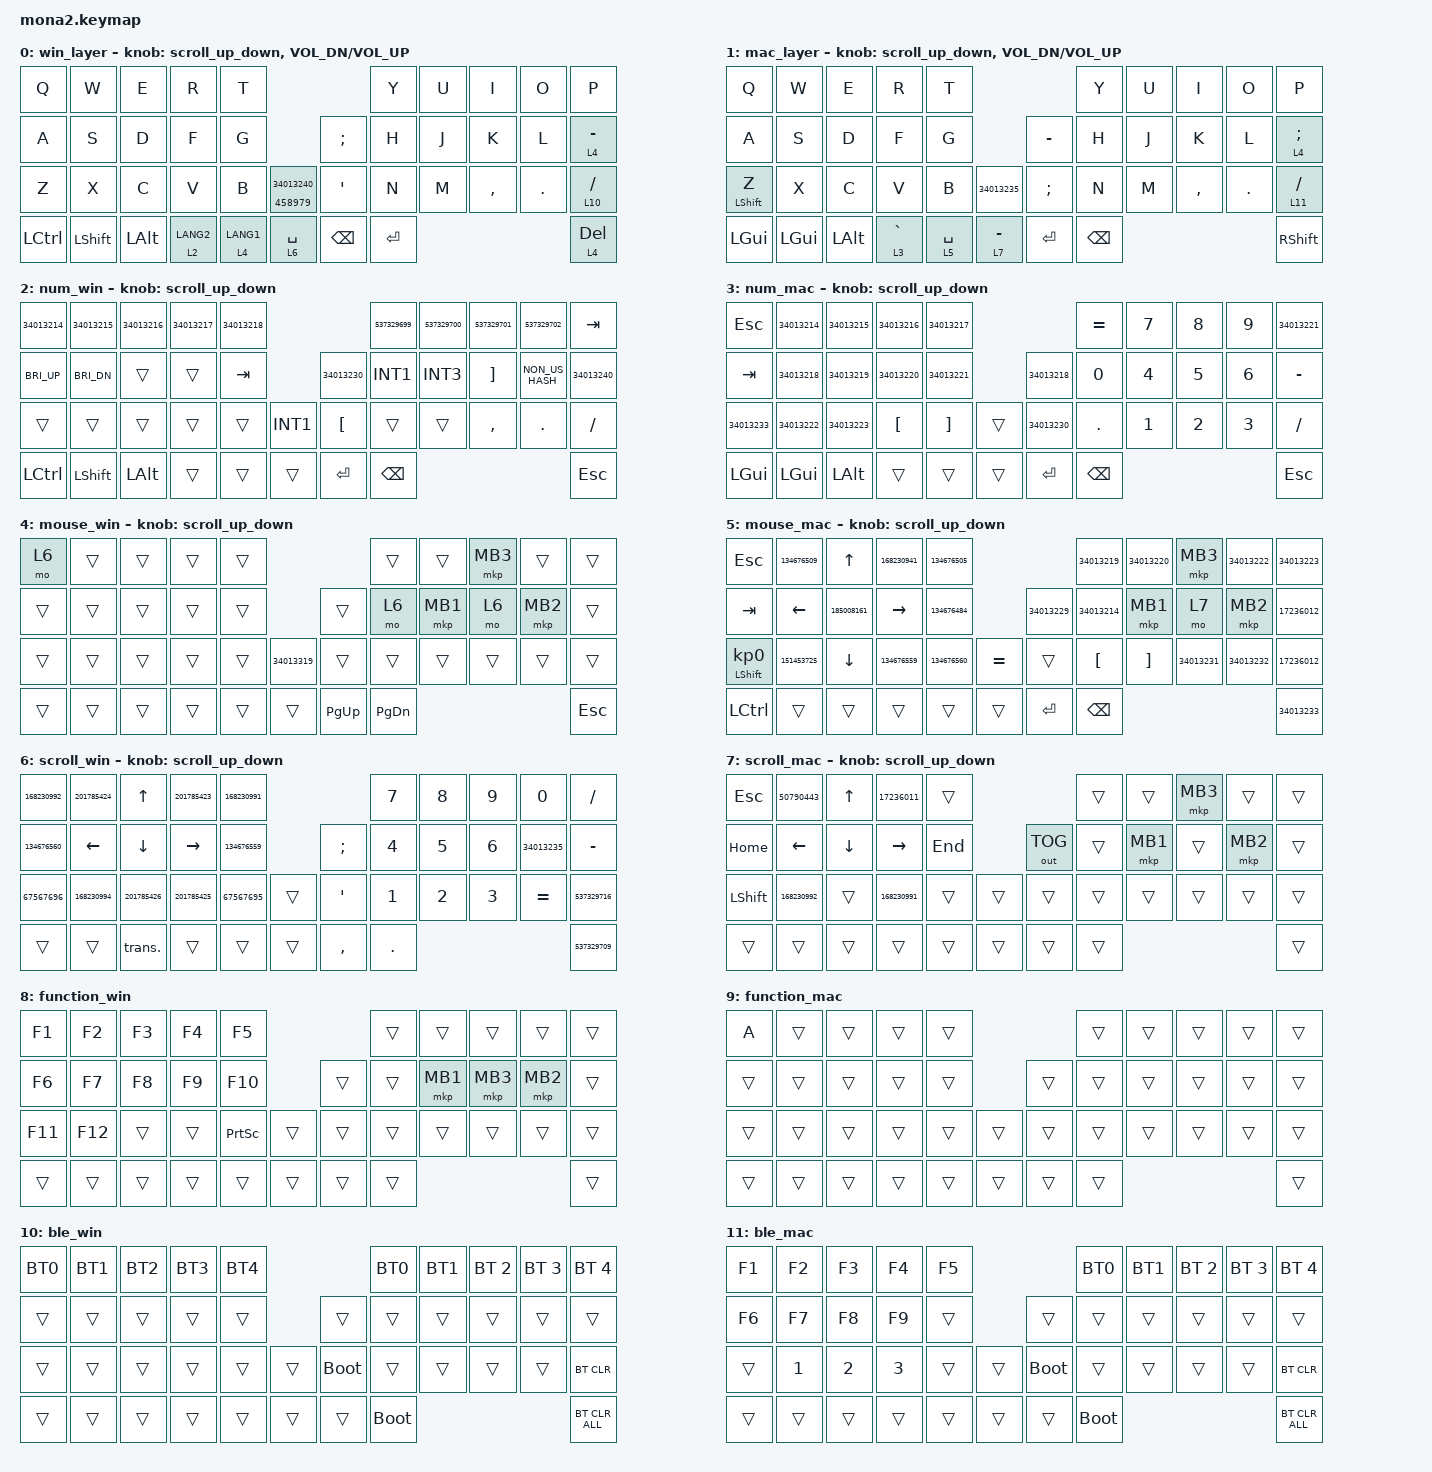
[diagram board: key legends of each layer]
#include <input/processors.dtsi>
#include <dt-bindings/zmk/input_transform.h>
#include <zephyr/dt-bindings/input/input-event-codes.h>
#include <behaviors.dtsi>
#include <dt-bindings/zmk/bt.h>
#include <dt-bindings/zmk/keys.h>
#include <dt-bindings/zmk/outputs.h>
#include <dt-bindings/zmk/pointing.h>

#define ZMK_POINTING_DEFAULT_SCRL_VAL 100

&mt {
    flavor = "balanced";
    quick-tap-ms = <0>;
};

&lt {
    quick-tap-ms = <200>;
    flavor = "balanced";
};

&msc {
    delay-ms = <0>;
    time-to-max-speed-ms = <0>;
    acceleration-exponent = <0>;
};

/ {
    combos {
        compatible = "zmk,combos";

        layer4_ESC {
            bindings = <&lt 4 ESC>;
            key-positions = <39 38>;
        };

        tab {
            bindings = <&kp TAB>;
            key-positions = <11 12>;
        };
    };

    macros {
        to_layer_0: to_layer_0 {
            compatible = "zmk,behavior-macro-one-param";
            #binding-cells = <1>;
            bindings = <&to 0 &macro_param_1to1 &kp MACRO_PLACEHOLDER>;
            label = "TO_LAYER_0";
        };

        BT0: BT0 {
            compatible = "zmk,behavior-macro";
            #binding-cells = <0>;
            bindings =
                <&tog_off 0 &tog_off 1>,
                <&macro_wait_time 200>,
                <&bt BT_SEL 0>,
                <&macro_wait_time 500>,
                <&tog_on 0>;

            label = "BT0";
        };

        BT1: BT1 {
            compatible = "zmk,behavior-macro";
            #binding-cells = <0>;
            bindings =
                <&tog_off 0 &tog_off 1>,
                <&macro_wait_time 200>,
                <&bt BT_SEL 1>,
                <&macro_wait_time 500>,
                <&tog_on 1>;

            label = "BT1";
        };

        screenshot: screenshot {
            compatible = "zmk,behavior-macro";
            #binding-cells = <0>;
            bindings =
                <&macro_press>,
                <&kp LEFT_GUI &kp RSHIFT>,
                <&macro_wait_time 20>,
                <&macro_tap>,
                <&kp S>,
                <&macro_release>,
                <&kp LEFT_GUI &kp RSHIFT>;

            label = "SCREENSHOT";
        };

        henkan: henkan {
            compatible = "zmk,behavior-macro";
            #binding-cells = <0>;
            bindings =
                <&macro_press>,
                <&kp LEFT_ALT>,
                <&macro_wait_time 20>,
                <&macro_tap>,
                <&kp GRAVE>,
                <&macro_release>,
                <&kp LEFT_ALT>;

            label = "HENKAN";
        };
    };

    behaviors {
        lt_to_layer_0: lt_to_layer_0 {
            compatible = "zmk,behavior-hold-tap";
            label = "LAYER_TAP_TO_0";
            bindings = <&mo>, <&to_layer_0>;

            #binding-cells = <2>;
            tapping-term-ms = <200>;
        };

        tp_repeat_mo1: tp_repeat_mo1 {
            compatible = "zmk,behavior-hold-tap";
            label = "TP_REPEAT_MO1";
            bindings = <&mo>, <&key_repeat>;

            #binding-cells = <2>;
            tapping-term-ms = <200>;
        };

        // 新しいスクロール動作の追加

        scroll_up_down: behavior_sensor_rotate_mouse_wheel_up_down {
            compatible = "zmk,behavior-sensor-rotate";
            #sensor-binding-cells = <0>;
            bindings = <&msc SCRL_UP>, <&msc SCRL_DOWN>;

            // 追加: スクロールのタップ時間を設定 (20ms)

            tap-ms = <30>;
        };

        tog_on: toggle_layer_on_only {
            compatible = "zmk,behavior-toggle-layer";
            #binding-cells = <1>;
            display-name = "Toggle Layer On";
            toggle-mode = "on";
        };

        tog_off: toggle_layer_off_only {
            compatible = "zmk,behavior-toggle-layer";
            #binding-cells = <1>;
            display-name = "Toggle Layer Off";
            toggle-mode = "off";
        };

        zfold: zfold {
            compatible = "zmk,behavior-hold-tap";
            label = "ZFOLD";
            bindings = <&kp>, <&kp>;

            #binding-cells = <2>;
            tapping-term-ms = <300>;
            flavor = "hold-preferred";
            quick-tap-ms = <150>;
            hold-while-undecided;
        };

        zfoldZ: zfoldZ {
            compatible = "zmk,behavior-tap-dance";
            label = "ZFOLDZ";
            #binding-cells = <0>;
            bindings = <&zfold LEFT_SHIFT Z>, <&kp LS(Z)>;
        };
    };

    keymap {
        compatible = "zmk,keymap";

        win_layer {
            bindings = <
&kp Q             &kp W           &kp E         &kp R        &kp T                                            &kp Y       &kp U  &kp I      &kp O    &kp P
&kp A             &kp S           &kp D         &kp F        &kp G                             &kp SEMICOLON  &kp H       &kp J  &kp K      &kp L    &lt 4 MINUS
&kp Z             &kp X           &kp C         &kp V        &kp B        &mt 458979 34013240  &kp SQT        &kp N       &kp M  &kp COMMA  &kp DOT  &lt 10 SLASH
&kp LEFT_CONTROL  &kp LEFT_SHIFT  &kp LEFT_ALT  &lt 2 LANG2  &lt 4 LANG1  &lt 6 SPACE          &kp BACKSPACE  &kp RETURN                             &lt 4 DELETE
            >;

            sensor-bindings =
                <&scroll_up_down>,
                <&inc_dec_kp C_VOL_DN C_VOL_UP>;
        };

        mac_layer {
            bindings = <
&kp Q             &kp W         &kp E         &kp R        &kp T                                      &kp Y          &kp U  &kp I      &kp O       &kp P
&kp A             &kp S         &kp D         &kp F        &kp G                       &kp MINUS      &kp H          &kp J  &kp K      &kp L       &lt 4 SEMICOLON
&mt LEFT_SHIFT Z  &kp X         &kp C         &kp V        &kp B        &kp 34013235   &kp SEMICOLON  &kp N          &kp M  &kp COMMA  &kp PERIOD  &lt 11 SLASH
&kp LEFT_GUI      &kp LEFT_GUI  &kp LEFT_ALT  &lt 3 GRAVE  &lt 5 SPACE  &lt 7 MINUS    &kp RETURN     &kp BACKSPACE                                &kp RIGHT_SHIFT
            >;

            sensor-bindings =
                <&scroll_up_down>,
                <&inc_dec_kp C_VOL_DN C_VOL_UP>;
        };

        num_win {
            bindings = <
&kp 34013214      &kp 34013215    &kp 34013216  &kp 34013217  &kp 34013218                              &kp 537329699  &kp 537329700  &kp 537329701      &kp 537329702    &kp TAB
&kp C_BRI_UP      &kp C_BRI_DN    &trans        &trans        &kp TAB                 &kp 34013230      &kp INT1       &kp INT3       &kp RIGHT_BRACKET  &kp NON_US_HASH  &kp 34013240
&trans            &trans          &trans        &trans        &trans        &kp INT1  &kp LEFT_BRACKET  &trans         &trans         &kp COMMA          &kp PERIOD       &kp SLASH
&kp LEFT_CONTROL  &kp LEFT_SHIFT  &kp LEFT_ALT  &trans        &trans        &trans    &kp RETURN        &kp BACKSPACE                                                     &kp ESCAPE
            >;

            sensor-bindings = <&scroll_up_down>;
        };

        num_mac {
            bindings = <
&kp ESCAPE    &kp 34013214  &kp 34013215  &kp 34013216      &kp 34013217                             &kp EQUAL   &kp N7    &kp N8    &kp N9    &kp 34013221
&kp TAB       &kp 34013218  &kp 34013219  &kp 34013220      &kp 34013221               &kp 34013218  &kp N0      &kp N4    &kp N5    &kp N6    &kp MINUS    
&kp 34013233  &kp 34013222  &kp 34013223  &kp LEFT_BRACKET  &kp RIGHT_BRACKET  &trans  &kp 34013230  &kp PERIOD  &kp N1    &kp N2    &kp N3    &kp SLASH    
&kp LEFT_GUI  &kp LEFT_GUI  &kp LEFT_ALT  &trans            &trans             &trans  &kp RETURN    &kp BACKSPACE                             &kp ESCAPE
            >;

            sensor-bindings = <&scroll_up_down>;
        };

        mouse_win {
            bindings = <
&mo 6   &trans  &trans  &trans  &trans                               &trans         &trans    &mkp MB3  &trans    &trans
&trans  &trans  &trans  &trans  &trans                  &trans       &mo 6          &mkp MB1  &mo 6     &mkp MB2  &trans
&trans  &trans  &trans  &trans  &trans    &kp 34013319  &trans       &trans         &trans    &trans    &trans    &trans
&trans  &trans  &trans  &trans  &trans    &trans        &kp PAGE_UP  &kp PAGE_DOWN                                &kp ESCAPE
            >;

            sensor-bindings = <&scroll_up_down>;
        };

        mouse_mac {
            bindings = <
&kp ESCAPE            &kp 134676509  &kp UP         &kp 168230941  &kp 134676505                           &kp 34013219      &kp 34013220       &mkp MB3      &kp 34013222  &kp 34013223
&kp TAB               &kp LEFT       &kp 185008161  &kp RIGHT      &kp 134676484             &kp 34013229  &kp 34013214      &mkp MB1           &mo 7         &mkp MB2      &kp 17236012
&mt LEFT_SHIFT KP_N0  &kp 151453725  &kp DOWN       &kp 134676559  &kp 134676560  &kp EQUAL  &trans        &kp LEFT_BRACKET  &kp RIGHT_BRACKET  &kp 34013231  &kp 34013232  &kp 17236012
&kp LEFT_CONTROL      &trans         &trans         &trans         &trans         &trans     &kp RETURN    &kp BACKSPACE                                                    &kp 34013233
            >;

            sensor-bindings = <&scroll_up_down>;
        };

        scroll_win {
            bindings = <
&kp 168230992  &kp 201785424  &kp UP         &kp 201785423  &kp 168230991                         &kp N7  &kp N8  &kp N9  &kp N0        &kp SLASH
&kp 134676560  &kp LEFT       &kp DOWN       &kp RIGHT      &kp 134676559          &kp SEMICOLON  &kp N4  &kp N5  &kp N6  &kp 34013235  &kp MINUS
&kp 67567696   &kp 168230994  &kp 201785426  &kp 201785425  &kp 67567695   &trans  &kp SQT        &kp N1  &kp N2  &kp N3  &kp EQUAL     &kp 537329716
&trans         &trans         &trans.        &trans         &trans         &trans  &kp COMMA      &kp PERIOD                            &kp 537329709
            >;

            sensor-bindings = <&scroll_up_down>;
        };

        scroll_mac {
            bindings = <
&kp ESCAPE      &kp 50790443   &kp UP    &kp 17236011   &trans                               &trans  &trans    &mkp MB3  &trans    &trans
&kp HOME        &kp LEFT       &kp DOWN  &kp RIGHT      &kp END                &out OUT_TOG  &trans  &mkp MB1  &trans    &mkp MB2  &trans
&kp LEFT_SHIFT  &kp 168230992  &trans    &kp 168230991  &trans   &trans        &trans        &trans  &trans    &trans    &trans    &trans
&trans          &trans         &trans    &trans         &trans   &trans        &trans        &trans                                &trans
            >;

            sensor-bindings = <&scroll_up_down>;
        };

        function_win {
            bindings = <
&kp F1  &kp F2  &kp F3  &kp F4  &kp F5                   &trans  &trans  &trans    &trans    &trans
&kp F6  &kp F7  &kp F8  &kp F9  &kp F10                  &trans  &trans  &mkp MB1  &mkp MB3  &mkp MB2  &trans
&kp F11 &kp F12 &trans  &trans  &kp PRINTSCREEN  &trans  &trans  &trans  &trans    &trans    &trans    &trans 
&trans  &trans  &trans  &trans  &trans           &trans  &trans  &trans                                &trans
            >;
        };

        function_mac {
            bindings = <
&kp A   &trans  &trans  &trans  &trans                  &trans  &trans  &trans  &trans  &trans
&trans  &trans  &trans  &trans  &trans          &trans  &trans  &trans  &trans  &trans  &trans
&trans  &trans  &trans  &trans  &trans  &trans  &trans  &trans  &trans  &trans  &trans  &trans 
&trans  &trans  &trans  &trans  &trans  &trans  &trans  &trans                          &trans
            >;
        };
	    ble_win {
            bindings = <
&BT0    &BT1          &BT2          &BT3          &BT4                           &BT0         &BT1    &bt BT_SEL 2  &bt BT_SEL 3  &bt BT_SEL 4
&trans  &trans        &trans        &trans        &trans            &trans       &trans       &trans  &trans        &trans        &trans
&trans  &trans        &trans        &trans        &trans  &trans    &bootloader  &trans       &trans  &trans        &trans        &bt BT_CLR
&trans  &trans        &trans        &trans        &trans  &trans    &trans       &bootloader                                      &bt BT_CLR_ALL
            >;
        };

        ble_mac {
            bindings = <
&kp F1  &kp F2        &kp F3        &kp F4        &kp F5                         &BT0         &BT1    &bt BT_SEL 2  &bt BT_SEL 3  &bt BT_SEL 4
&kp F6  &kp F7        &kp F8        &kp F9        &trans            &trans       &trans       &trans  &trans        &trans        &trans
&trans  &kp NUMBER_1  &kp NUMBER_2  &kp NUMBER_3  &trans  &trans    &bootloader  &trans       &trans  &trans        &trans        &bt BT_CLR
&trans  &trans        &trans        &trans        &trans  &trans    &trans       &bootloader                                      &bt BT_CLR_ALL
            >;
        };
    };
};
